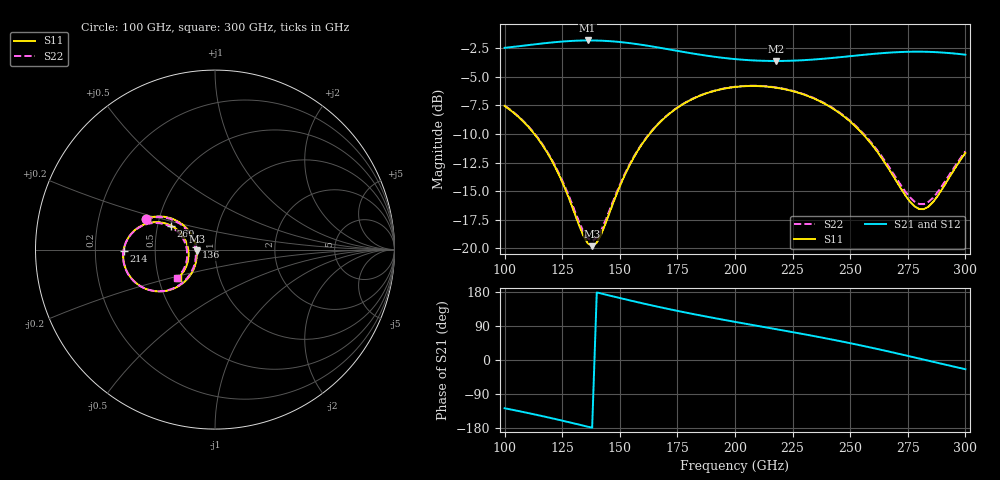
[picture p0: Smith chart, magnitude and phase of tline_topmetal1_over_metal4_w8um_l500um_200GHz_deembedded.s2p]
! Created with skrf 2.2.0 (http://scikit-rf.org).
# GHz S DB R 50.0
! Port[1] = P1
! Port[2] = P2
!freq dBS11 angS11 dBS21 angS21 dBS12 angS12 dBS22 angS22
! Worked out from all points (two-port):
!   101 points, 100 GHz to 300 GHz, reference 50 ohm
!   highest |S21| = -1.81 dB at 136 GHz (marker M1); lowest = -3.6 dB at 218 GHz (marker M2)
!   |S21| within 3 dB of the highest: start of sweep to end of sweep
!   lowest |S11| = -19.8 dB at 138 GHz (marker M3), VSWR 1.23, Z = 40.8 - j0.731 ohm
!   |S11| at or under -10 dB: 112.9 GHz to 162.9 GHz (49.95 GHz wide, 36.2 % of centre); 255.5 GHz to end of sweep
!   |S22| runs from -19.4 to -5.8 dB; largest |S21 - S12| = 7.6e-14
!   S11 on the Smith chart (normalised r, x): 100 GHz: 0.42, +0.18; 136 GHz: 0.81, +0.02; 214 GHz: 0.32, -0.01; 260 GHz: 0.59, +0.17; 300 GHz: 0.63, -0.21
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100  -7.54 155.7  -2.45 -127.3  -2.45 -127.3  -7.51 156.4
110  -9.30 147.6  -2.22 -139.7  -2.22 -139.7  -9.25 148.5
118  -11.46 143.0  -2.04 -150.3  -2.04 -150.3  -11.38 144.2
124  -13.74 142.7  -1.92 -158.6  -1.92 -158.6  -13.62 144.1
134  -18.82 162.9  -1.81 -172.9  -1.81 -172.9  -18.44 164.1
136  -19.55 173.1  -1.81 -175.9  -1.81 -175.9  -19.11 173.9
138  -19.82 -175.0  -1.81 -178.8  -1.81 -178.8  -19.36 -175.0
142  -18.75 -153.1  -1.83 175.3  -1.83 175.3  -18.40 -154.2
156  -12.07 -133.5  -2.09 155.0  -2.09 155.0  -12.00 -134.3
168  -8.85 -140.3  -2.47 138.6  -2.47 138.6  -8.82 -140.6
182  -6.89 -152.0  -2.96 121.1  -2.96 121.1  -6.87 -152.1
200  -5.88 -167.5  -3.44 100.6  -3.44 100.6  -5.86 -167.3
214  -5.85 -179.0  -3.60 85.5  -3.60 85.5  -5.83 -178.6
218  -5.95 177.8  -3.61 81.1  -3.61 81.1  -5.93 178.2
234  -6.86 165.4  -3.48 63.4  -3.48 63.4  -6.83 166.0
248  -8.57 155.8  -3.23 46.8  -3.23 46.8  -8.51 156.8
260  -11.08 151.4  -2.99 31.4  -2.99 31.4  -10.96 152.7
268  -13.45 154.3  -2.86 20.6  -2.86 20.6  -13.24 155.9
276  -15.93 168.5  -2.80 9.4  -2.80 9.4  -15.55 169.7
282  -16.57 -172.2  -2.80 0.9  -2.80 0.9  -16.13 -172.2
288  -15.41 -154.6  -2.84 -7.6  -2.84 -7.6  -15.07 -155.6
300  -11.65 -142.4  -3.06 -24.3  -3.06 -24.3  -11.51 -143.4
